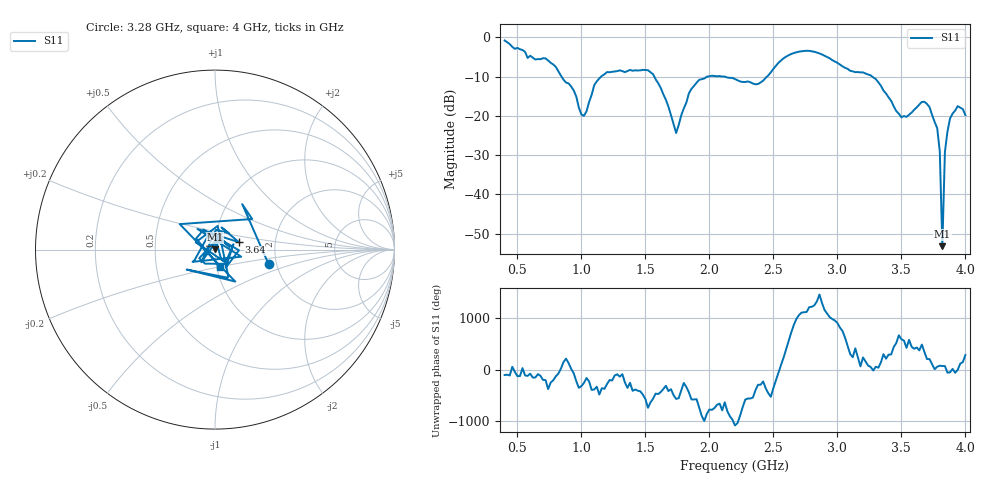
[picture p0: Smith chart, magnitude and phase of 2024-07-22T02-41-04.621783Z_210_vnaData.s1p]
!Created with skrf (http://scikit-rf.org).
# Hz S RI R 50.0
!freq ReS11 ImS11
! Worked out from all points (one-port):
!   181 points, 400 MHz to 4 GHz, reference 50 ohm
!   lowest |S11| = -53.2 dB at 3.82 GHz (marker M1), VSWR 1.00, Z = 50.1 + j0.21 ohm
!   |S11| at or under -10 dB: 1.57 GHz to 1.98 GHz (409.7 MHz wide, 23.1 % of centre); 2.123 GHz to 2.449 GHz (326.3 MHz wide, 14.3 % of centre); 3.273 GHz to end of sweep (the widest 3 of 4)
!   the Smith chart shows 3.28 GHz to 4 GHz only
!   S11 on the Smith chart (normalised r, x): 3.28 GHz: 1.81, -0.33; 3.64 GHz: 1.30, +0.11; 4 GHz: 1.04, -0.21
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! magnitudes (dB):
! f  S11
! 400 MHz  -0.8
! 720 MHz  -5.3
! 860 MHz  -10.8
! 1.02 GHz  -20.0
! 1.12 GHz  -11.2
! 1.3 GHz  -8.4
! 1.56 GHz  -9.4
! 1.74 GHz  -24.3
! 1.76 GHz  -22.3
! 1.84 GHz  -14.2
! 1.92 GHz  -10.8
! 2.2 GHz  -10.6
! 2.38 GHz  -11.9
! 2.66 GHz  -4.0
! 2.84 GHz  -3.8
! 3.1 GHz  -8.5
! 3.28 GHz  -10.2
! 3.5 GHz  -20.3
! 3.56 GHz  -19.7
! 3.64 GHz  -17.1
! 3.72 GHz  -17.8
! 3.78 GHz  -23.1
! 3.8 GHz  -29.1
! 3.82 GHz  -53.2
! 3.84 GHz  -29.1
! 3.86 GHz  -24.0
! 3.94 GHz  -17.5
! 4 GHz  -19.8
